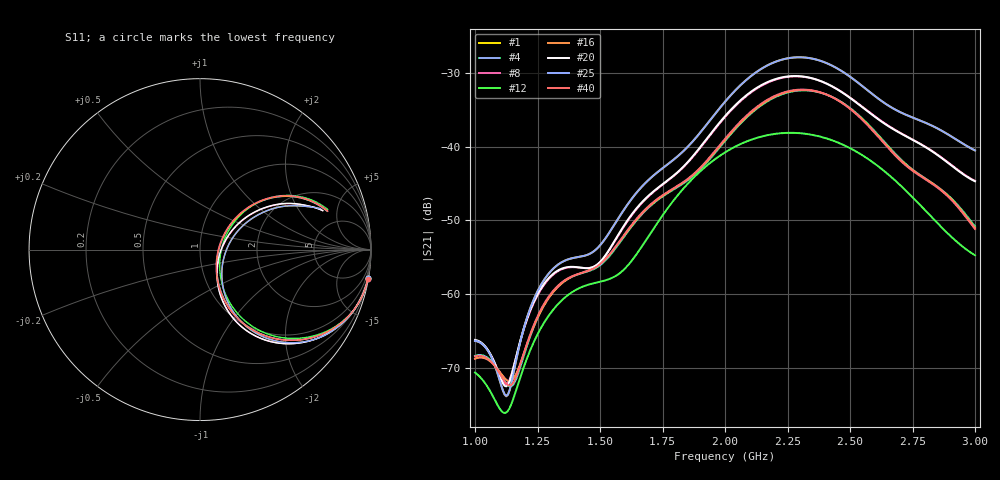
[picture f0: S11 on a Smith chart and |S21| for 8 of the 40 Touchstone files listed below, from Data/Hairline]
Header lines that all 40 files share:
! TOUCHSTONE file generated by CST MICROWAVE STUDIO
! Project name: hairline.cst
! Header version: 2024
! Port assignment regex: !\s*Touchstone port\s*([0-9]+)\s*=\s*(CST MWS port|CST DES external port|CST DES block port)\s*(.+)\s* \(\"(.*)\"\)(\s*mode\s*([0-9]+))?.*
! Touchstone port assignment:
! Touchstone port 1 = CST MWS port 1 ("")
! Touchstone port 2 = CST MWS port 2 ("")
# GHz S DB R 50
Fixed: B = 12.5, D = 160, Feed = 2.85625, L = 100, R = 0.384908, S = 1.5, length = 57.125, wave = 114.25
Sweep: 1 GHz to 3 GHz
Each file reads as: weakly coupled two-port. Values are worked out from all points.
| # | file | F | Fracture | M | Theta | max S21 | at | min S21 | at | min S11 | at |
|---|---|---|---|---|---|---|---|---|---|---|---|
| 1 | hairline_1.s2p | 15 | 0.5 | 30 | 0 | -27.85 dB | 2.294 GHz | -73.9 dB | 1.125 GHz | -16.7 dB | 2.353 GHz |
| 2 | hairline_2.s2p | 15 | 1 | 30 | 0 | -27.85 dB | 2.296 GHz | -71.8 dB | 1.125 GHz | -16.6 dB | 2.355 GHz |
| 3 | hairline_3.s2p | 15 | 2 | 30 | 0 | -27.85 dB | 2.296 GHz | -73.7 dB | 1.125 GHz | -16.7 dB | 2.355 GHz |
| 4 | hairline_4.s2p | 15 | 0.5 | 50 | 0 | -32.34 dB | 2.314 GHz | -72.5 dB | 1.139 GHz | -19.3 dB | 2.386 GHz |
| 5 | hairline_5.s2p | 15 | 1 | 50 | 0 | -32.32 dB | 2.314 GHz | -72.5 dB | 1.139 GHz | -19.4 dB | 2.38 GHz |
| 6 | hairline_6.s2p | 15 | 2 | 50 | 0 | -32.33 dB | 2.314 GHz | -73.0 dB | 1.145 GHz | -19.3 dB | 2.38 GHz |
| 7 | hairline_7.s2p | 25 | 0.5 | 30 | 0 | -30.31 dB | 2.274 GHz | -73.6 dB | 1.125 GHz | -18.9 dB | 2.347 GHz |
| 8 | hairline_8.s2p | 25 | 1 | 30 | 0 | -30.44 dB | 2.283 GHz | -72.2 dB | 1.125 GHz | -18.4 dB | 2.355 GHz |
| 9 | hairline_9.s2p | 25 | 2 | 30 | 0 | -30.39 dB | 2.281 GHz | -72.9 dB | 1.125 GHz | -18.6 dB | 2.353 GHz |
| 10 | hairline_10.s2p | 25 | 0.5 | 50 | 0 | -38.09 dB | 2.265 GHz | -76.1 dB | 1.121 GHz | -18.2 dB | 2.402 GHz |
| 11 | hairline_11.s2p | 25 | 1 | 50 | 0 | -38.13 dB | 2.265 GHz | -75.9 dB | 1.121 GHz | -18.2 dB | 2.402 GHz |
| 12 | hairline_12.s2p | 25 | 2 | 50 | 0 | -38.10 dB | 2.262 GHz | -76.1 dB | 1.122 GHz | -18.2 dB | 2.399 GHz |
| 13 | hairline_13.s2p | 15 | 0.5 | 30 | 90 | -27.81 dB | 2.296 GHz | -74.4 dB | 1.125 GHz | -16.8 dB | 2.349 GHz |
| 14 | hairline_14.s2p | 15 | 1 | 30 | 90 | -27.82 dB | 2.296 GHz | -73.7 dB | 1.125 GHz | -16.8 dB | 2.349 GHz |
| 15 | hairline_15.s2p | 15 | 2 | 30 | 90 | -27.82 dB | 2.296 GHz | -73.9 dB | 1.125 GHz | -16.7 dB | 2.349 GHz |
| 16 | hairline_16.s2p | 15 | 0.5 | 50 | 90 | -32.30 dB | 2.316 GHz | -71.8 dB | 1.138 GHz | -19.4 dB | 2.382 GHz |
| 17 | hairline_17.s2p | 15 | 1 | 50 | 90 | -32.25 dB | 2.307 GHz | -73.1 dB | 1.139 GHz | -19.6 dB | 2.38 GHz |
| 18 | hairline_18.s2p | 15 | 2 | 50 | 90 | -32.32 dB | 2.316 GHz | -71.8 dB | 1.138 GHz | -19.4 dB | 2.382 GHz |
| 19 | hairline_19.s2p | 25 | 0.5 | 30 | 90 | -30.32 dB | 2.274 GHz | -73.3 dB | 1.125 GHz | -18.8 dB | 2.347 GHz |
| 20 | hairline_20.s2p | 25 | 1 | 30 | 90 | -30.39 dB | 2.283 GHz | -72.5 dB | 1.125 GHz | -18.6 dB | 2.355 GHz |
| 21 | hairline_21.s2p | 25 | 2 | 30 | 90 | -30.38 dB | 2.281 GHz | -72.7 dB | 1.125 GHz | -18.6 dB | 2.353 GHz |
| 22 | hairline_22.s2p | 25 | 0.5 | 50 | 90 | -38.07 dB | 2.258 GHz | -76.1 dB | 1.114 GHz | -18.2 dB | 2.402 GHz |
| 23 | hairline_23.s2p | 25 | 1 | 50 | 90 | -38.09 dB | 2.265 GHz | -76.2 dB | 1.121 GHz | -18.2 dB | 2.402 GHz |
| 24 | hairline_24.s2p | 25 | 2 | 50 | 90 | -38.09 dB | 2.265 GHz | -76.2 dB | 1.121 GHz | -18.2 dB | 2.402 GHz |
| 25 | hairline_25.s2p | 15 | 0.5 | 30 | 180 | -27.85 dB | 2.294 GHz | -73.8 dB | 1.125 GHz | -16.6 dB | 2.353 GHz |
| 26 | hairline_26.s2p | 15 | 1 | 30 | 180 | -27.86 dB | 2.3 GHz | -74.4 dB | 1.125 GHz | -16.6 dB | 2.353 GHz |
| 27 | hairline_27.s2p | 15 | 2 | 30 | 180 | -27.85 dB | 2.296 GHz | -73.7 dB | 1.125 GHz | -16.7 dB | 2.355 GHz |
| 28 | hairline_28.s2p | 15 | 0.5 | 50 | 180 | -32.34 dB | 2.314 GHz | -72.5 dB | 1.139 GHz | -19.3 dB | 2.386 GHz |
| 29 | hairline_29.s2p | 15 | 1 | 50 | 180 | -32.32 dB | 2.314 GHz | -72.5 dB | 1.139 GHz | -19.4 dB | 2.38 GHz |
| 30 | hairline_30.s2p | 15 | 2 | 50 | 180 | -32.32 dB | 2.316 GHz | -72.4 dB | 1.138 GHz | -19.4 dB | 2.382 GHz |
| 31 | hairline_31.s2p | 25 | 0.5 | 30 | 180 | -30.31 dB | 2.274 GHz | -73.6 dB | 1.125 GHz | -18.9 dB | 2.347 GHz |
| 32 | hairline_32.s2p | 25 | 1 | 30 | 180 | -30.44 dB | 2.283 GHz | -72.2 dB | 1.125 GHz | -18.4 dB | 2.355 GHz |
| 33 | hairline_33.s2p | 25 | 2 | 30 | 180 | -30.39 dB | 2.281 GHz | -72.9 dB | 1.125 GHz | -18.6 dB | 2.353 GHz |
| 34 | hairline_34.s2p | 25 | 0.5 | 50 | 180 | -38.09 dB | 2.265 GHz | -76.1 dB | 1.121 GHz | -18.2 dB | 2.402 GHz |
| 35 | hairline_35.s2p | 25 | 1 | 50 | 180 | -38.13 dB | 2.265 GHz | -75.9 dB | 1.121 GHz | -18.2 dB | 2.402 GHz |
| 36 | hairline_36.s2p | 25 | 2 | 50 | 180 | -38.10 dB | 2.262 GHz | -76.1 dB | 1.122 GHz | -18.2 dB | 2.399 GHz |
| 37 | hairline_37.s2p | 15 | 0.5 | 30 | 270 | -27.80 dB | 2.296 GHz | -72.7 dB | 1.125 GHz | -16.8 dB | 2.349 GHz |
| 38 | hairline_38.s2p | 15 | 1 | 30 | 270 | -27.82 dB | 2.296 GHz | -73.7 dB | 1.125 GHz | -16.8 dB | 2.349 GHz |
| 39 | hairline_39.s2p | 15 | 2 | 30 | 270 | -27.82 dB | 2.296 GHz | -73.9 dB | 1.125 GHz | -16.7 dB | 2.349 GHz |
| 40 | hairline_40.s2p | 15 | 0.5 | 50 | 270 | -32.24 dB | 2.309 GHz | -72.4 dB | 1.138 GHz | -19.6 dB | 2.375 GHz |
